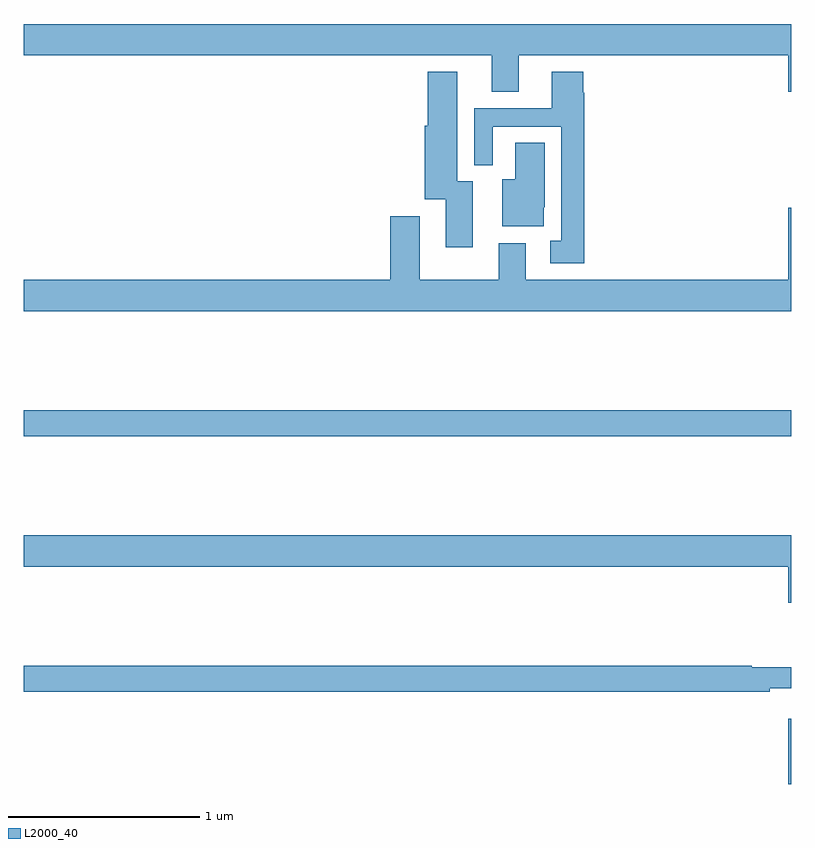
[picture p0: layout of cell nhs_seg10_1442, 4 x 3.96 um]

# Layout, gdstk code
import gdstk
lib = gdstk.Library(unit=1e-6, precision=1e-09)
def R(c, l, rs):  # rectangles x0, y0, x1, y1
    for r in rs: c.add(gdstk.rectangle(r[:2], r[2:], *l))
def P(c, l, *ps):  # polygons
    for p in ps: c.add(gdstk.Polygon(p, *l))
L2000_40 = (2000, 40)

nhs_seg10_1442 = lib.new_cell('nhs_seg10_1442')
R(nhs_seg10_1442, L2000_40, [(188.984,1316.5,189,1316.839), (185,1318.312,189,1318.448)])
P(nhs_seg10_1442, L2000_40, [(187.579,1320.296),(188.984,1320.296),(188.984,1320.108),(189,1320.108),(189,1320.46),(185,1320.46),(185,1320.296),(187.439,1320.296),(187.439,1320.106),(187.579,1320.106)],
  [(187.921,1320.101),(187.916,1320.101),(187.916,1320.211),(187.751,1320.211),(187.751,1320.021),(187.347,1320.021),(187.347,1319.724),(187.443,1319.724),(187.443,1319.925),(187.802,1319.925),(187.802,1319.33),(187.743,1319.33),(187.743,1319.213),(187.921,1319.213)],
  [(187.339,1319.641),(187.258,1319.641),(187.258,1320.211),(187.106,1320.211),(187.106,1319.931),(187.091,1319.931),(187.091,1319.547),(187.199,1319.547),(187.199,1319.298),(187.339,1319.298)],
  [(187.711,1319.506),(187.714,1319.506),(187.714,1319.84),(187.562,1319.84),(187.562,1319.65),(187.493,1319.65),(187.493,1319.405),(187.711,1319.405)],
  [(189,1319.503),(188.984,1319.503),(188.984,1319.128),(187.615,1319.128),(187.615,1319.317),(187.475,1319.317),(187.475,1319.128),(187.063,1319.128),(187.063,1319.458),(186.911,1319.458),(186.911,1319.128),(185,1319.128),(185,1318.964),(189,1318.964)],
  [(189,1317.796),(185,1317.796),(185,1317.632),(188.984,1317.632),(188.984,1317.444),(189,1317.444)],
  [(188.888,1316.999),(189,1316.999),(189,1317.109),(188.794,1317.109),(188.794,1317.116),(185,1317.116),(185,1316.98),(188.888,1316.98)])

lib.write_gds('nhs_seg10_1442.gds')
